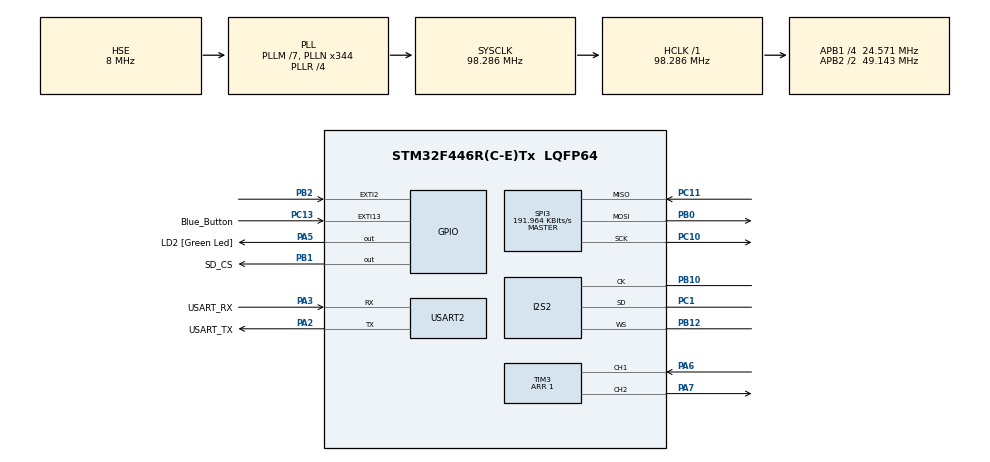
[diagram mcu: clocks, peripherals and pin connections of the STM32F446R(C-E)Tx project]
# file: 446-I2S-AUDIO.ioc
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Dma.Request0=SPI2_RX
Dma.SPI2_RX.0.Direction=DMA_PERIPH_TO_MEMORY
Dma.SPI2_RX.0.FIFOMode=DMA_FIFOMODE_DISABLE
Dma.SPI2_RX.0.Instance=DMA1_Stream3
Dma.SPI2_RX.0.MemDataAlignment=DMA_MDATAALIGN_HALFWORD
Dma.SPI2_RX.0.MemInc=DMA_MINC_ENABLE
Dma.SPI2_RX.0.Mode=DMA_CIRCULAR
Dma.SPI2_RX.0.PeriphDataAlignment=DMA_PDATAALIGN_HALFWORD
Dma.SPI2_RX.0.PeriphInc=DMA_PINC_DISABLE
Dma.SPI2_RX.0.Priority=DMA_PRIORITY_HIGH
I2S2.AudioFreq=I2S_AUDIOFREQ_48K
I2S2.DataFormat=I2S_DATAFORMAT_32B
I2S2.ErrorAudioFreq=-0.01 %
I2S2.FullDuplexMode=I2S_FULLDUPLEXMODE_DISABLE
I2S2.Instance=SPI$Index
I2S2.Mode=I2S_MODE_MASTER_RX
I2S2.RealAudioFreq=47.991 KHz
I2S2.Standard=I2S_STANDARD_MSB
I2S2.VirtualMode=I2S_MODE_MASTER
Mcu.Family=STM32F4
Mcu.Name=STM32F446R(C-E)Tx
Mcu.Package=LQFP64
NVIC.DMA1_Stream3_IRQn=true\:0\:0\:false\:false\:true\:false\:true\:true
NVIC.EXTI15_10_IRQn=true\:0\:0\:false\:false\:true\:true\:true\:true
NVIC.EXTI2_IRQn=true\:0\:0\:false\:false\:true\:true\:true\:true
NVIC.PriorityGroup=NVIC_PRIORITYGROUP_0
PA13.GPIO_Label=TMS
PA13.Mode=Serial_Wire
PA13.Signal=SYS_JTMS-SWDIO
PA14.GPIO_Label=TCK
PA14.Mode=Serial_Wire
PA14.Signal=SYS_JTCK-SWCLK
PA2.GPIO_Label=USART_TX
PA2.Mode=Asynchronous
PA2.Signal=USART2_TX
PA3.GPIO_Label=USART_RX
PA3.Mode=Asynchronous
PA3.Signal=USART2_RX
PA5.GPIO_Label=LD2 [Green Led]
PA5.Signal=GPIO_Output
PA6.Signal=S_TIM3_CH1
PA7.Signal=S_TIM3_CH2
PB0.Mode=Full_Duplex_Master
PB0.Signal=SPI3_MOSI
PB1.GPIO_Label=SD_CS
PB1.Signal=GPIO_Output
PB10.Mode=Half_Duplex_Master
PB10.Signal=I2S2_CK
PB12.Mode=Half_Duplex_Master
PB12.Signal=I2S2_WS
PB2.Signal=GPXTI2
PB3.GPIO_Label=SWO
PB3.Signal=SYS_JTDO-SWO
PC1.Mode=Half_Duplex_Master
PC1.Signal=I2S2_SD
PC10.Mode=Full_Duplex_Master
PC10.Signal=SPI3_SCK
PC11.Mode=Full_Duplex_Master
PC11.Signal=SPI3_MISO
PC13.GPIO_Label=Blue_Button
PC13.GPIO_ModeDefaultEXTI=GPIO_MODE_IT_FALLING
PC13.Signal=GPXTI13
PC14-OSC32_IN.Mode=LSE-External-Oscillator
PC14-OSC32_IN.Signal=RCC_OSC32_IN
PC15-OSC32_OUT.Mode=LSE-External-Oscillator
PC15-OSC32_OUT.Signal=RCC_OSC32_OUT
PH0-OSC_IN.Mode=HSE-External-Oscillator
PH0-OSC_IN.Signal=RCC_OSC_IN
PH1-OSC_OUT.Mode=HSE-External-Oscillator
PH1-OSC_OUT.Signal=RCC_OSC_OUT
ProjectManager.HeapSize=0x200
ProjectManager.StackSize=0x400
ProjectManager.TargetToolchain=STM32CubeIDE
RCC.48MHZClocksFreq_Value=84000000
RCC.AHBFreq_Value=98285714.2857143
RCC.APB1CLKDivider=RCC_HCLK_DIV4
RCC.APB1Freq_Value=24571428.571428575
RCC.APB1TimFreq_Value=49142857.14285715
RCC.APB2CLKDivider=RCC_HCLK_DIV2
RCC.APB2Freq_Value=49142857.14285715
RCC.APB2TimFreq_Value=98285714.2857143
RCC.CortexFreq_Value=98285714.2857143
RCC.FLatency-AdvancedSettings=FLASH_LATENCY_3
RCC.HCLKFreq_Value=98285714.2857143
RCC.HSE_VALUE=8000000
RCC.HSI_VALUE=16000000
RCC.I2S1CLockSelection=RCC_I2SAPB1CLKSOURCE_PLLR
RCC.PLLI2SM=7
RCC.PLLI2SN=344
RCC.PLLI2SR=4
RCC.PLLM=7
RCC.PLLN=344
RCC.PLLP=RCC_PLLP_DIV4
RCC.PLLR=4
RCC.PLLSourceVirtual=RCC_PLLSOURCE_HSE
RCC.SYSCLKFreq_VALUE=98285714.2857143
RCC.SYSCLKSource=RCC_SYSCLKSOURCE_PLLRCLK
RCC.USBFreq_Value=196571428.5714286
RCC.VCOOutputFreq_Value=393142857.1428572
SH.S_TIM3_CH1.0=TIM3_CH1,TriggerSource_TI1FP1
SH.S_TIM3_CH2.0=TIM3_CH2,PWM Generation2 CH2
SPI3.BaudRatePrescaler=SPI_BAUDRATEPRESCALER_128
SPI3.CalculateBaudRate=191.964 KBits/s
SPI3.Direction=SPI_DIRECTION_2LINES
SPI3.Mode=SPI_MODE_MASTER
SPI3.VirtualType=VM_MASTER
TIM3.Channel-PWM\ Generation2\ CH2=TIM_CHANNEL_2
TIM3.Period=1
USART2.VirtualMode=VM_ASYNC
VP_CRC_VS_CRC.Mode=CRC_Activate
VP_FATFS_VS_Generic.Mode=User_defined
VP_PDM2PCM_VS_PDM2PCM.Mode=PDM2PCM_Channel
VP_TIM3_VS_ControllerModeClock.Mode=Clock Mode
board=NUCLEO-F446RE

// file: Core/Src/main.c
/* USER CODE BEGIN Header */
/**
  ******************************************************************************
  * @file           : main.c
  * @brief          : Main program body
  ******************************************************************************
  * @attention
  *
  * Copyright (c) 2024 STMicroelectronics.
  * All rights reserved.
  *
  * This software is licensed under terms that can be found in the LICENSE file
  * in the root directory of this software component.
  * If no LICENSE file comes with this software, it is provided AS-IS.
  *
  ******************************************************************************
  */
/* USER CODE END Header */
#include "main.h"
#include "fatfs.h"
#include "pdm2pcm.h"

/* USER CODE BEGIN Includes */
#include "stdio.h"
#include <string.h>
#include <stdarg.h> //for va_list var arg functions
//#include <audio_sd.h>
/* USER CODE END Includes */

/* USER CODE BEGIN PD */
#define AUDIO_CHANNELS 2U
#define AUDIO_SAMPLING_FREQUENCY 48000U
#define N_MS_PER_INTERRUPT (1U)
#define CHANNEL_DEMUX_MASK  0x55U
FRESULT res;                                          /* FatFs function common result code */
FATFS SDFatFs;  /* File system object for SD card logical drive */
FIL MyFile;     /* File object */

volatile uint8_t button_flag = 0;

char newLine[] = "\r\n";
volatile uint8_t SD_Log_Enabled = 0;
char SDPath[4]; /* SD card logical drive path */
static volatile uint8_t BUTTONInterrupt, audio_in_recording_state = 0;
int index_n=0;

volatile int  index_buff=0;
static uint16_t I2S_InternalBuffer[768]; //TODO:CHECK
uint16_t PCM_Buffer[AUDIO_CHANNELS * AUDIO_SAMPLING_FREQUENCY / 1000];
uint16_t PDM_Buffer[AUDIO_CHANNELS * AUDIO_SAMPLING_FREQUENCY / 1000 * 64 / 8];

#define WRITE_EACH 16//ms
#define SIZE_BUFF (AUDIO_SAMPLING_FREQUENCY / 1000 * AUDIO_CHANNELS * (WRITE_EACH*2))

int16_t Audio_OUT_Buff[SIZE_BUFF];
uint8_t pHeader[44];

/* PDM filters params */
static PDM_Filter_Handler_t  PDM_FilterHandler[2];
static PDM_Filter_Config_t   PDM_FilterConfig[2];

static uint8_t Channel_Demux[128] = {
  0x00, 0x01, 0x00, 0x01, 0x02, 0x03, 0x02, 0x03,
  0x00, 0x01, 0x00, 0x01, 0x02, 0x03, 0x02, 0x03,
  0x04, 0x05, 0x04, 0x05, 0x06, 0x07, 0x06, 0x07,
  0x04, 0x05, 0x04, 0x05, 0x06, 0x07, 0x06, 0x07,
  0x00, 0x01, 0x00, 0x01, 0x02, 0x03, 0x02, 0x03,
  0x00, 0x01, 0x00, 0x01, 0x02, 0x03, 0x02, 0x03,
  0x04, 0x05, 0x04, 0x05, 0x06, 0x07, 0x06, 0x07,
  0x04, 0x05, 0x04, 0x05, 0x06, 0x07, 0x06, 0x07,
  0x08, 0x09, 0x08, 0x09, 0x0a, 0x0b, 0x0a, 0x0b,
  0x08, 0x09, 0x08, 0x09, 0x0a, 0x0b, 0x0a, 0x0b,
  0x0c, 0x0d, 0x0c, 0x0d, 0x0e, 0x0f, 0x0e, 0x0f,
  0x0c, 0x0d, 0x0c, 0x0d, 0x0e, 0x0f, 0x0e, 0x0f,
  0x08, 0x09, 0x08, 0x09, 0x0a, 0x0b, 0x0a, 0x0b,
  0x08, 0x09, 0x08, 0x09, 0x0a, 0x0b, 0x0a, 0x0b,
  0x0c, 0x0d, 0x0c, 0x0d, 0x0e, 0x0f, 0x0e, 0x0f,
  0x0c, 0x0d, 0x0c, 0x0d, 0x0e, 0x0f, 0x0e, 0x0f
};

/* USER CODE END PD */

CRC_HandleTypeDef hcrc;

I2S_HandleTypeDef hi2s2;
DMA_HandleTypeDef hdma_spi2_rx;

SPI_HandleTypeDef hspi3;

TIM_HandleTypeDef htim3;

UART_HandleTypeDef huart2;

void SystemClock_Config(void);
static void MX_GPIO_Init(void);
static void MX_DMA_Init(void);
static void MX_USART2_UART_Init(void);
static void MX_I2S2_Init(void);
static void MX_SPI3_Init(void);
static void MX_TIM3_Init(void);
static void MX_CRC_Init(void);
/* USER CODE BEGIN PFP */
void sd_card_init_new(void);
void PDMToPCMInit(void);
void myprintf(const char *fmt, ...);
void set_wav_header(void);
/* USER CODE END PFP */

/* USER CODE BEGIN 0 */
void myprintf(const char *fmt, ...) {
  static char buffer[256];
  va_list args;
  va_start(args, fmt);
  vsnprintf(buffer, sizeof(buffer), fmt, args);
  va_end(args);

  int len = strlen(buffer);
  HAL_UART_Transmit(&huart2, (uint8_t*)buffer, len, -1);
}

/**
  * @brief  Initialize the wave header file
  * @param  pHeader: Header Buffer to be filled
  * @param  pWaveFormatStruct: Pointer to the wave structure to be filled.
  * @retval 0 if passed, !0 if failed.
  */
static uint32_t WavProcess_HeaderInit()
{
  uint16_t   BitPerSample=16;
  uint16_t   NbrChannels=AUDIO_CHANNELS;
  uint32_t   ByteRate=AUDIO_SAMPLING_FREQUENCY*(BitPerSample/8);

  uint32_t   SampleRate=AUDIO_SAMPLING_FREQUENCY;
  uint16_t   BlockAlign= NbrChannels * (BitPerSample/8);

  /* Write chunkID, must be 'RIFF'  ------------------------------------------*/
  pHeader[0] = 'R';
  pHeader[1] = 'I';
  pHeader[2] = 'F';
  pHeader[3] = 'F';

  /* Write the file length ----------------------------------------------------*/
  /* The sampling time: this value will be be written back at the end of the
     recording opearation.  Example: 661500 Btyes = 0x000A17FC, byte[7]=0x00, byte[4]=0xFC */
  pHeader[4] = 0x00;
  pHeader[5] = 0x4C;
  pHeader[6] = 0x1D;
  pHeader[7] = 0x00;

  /* Write the file format, must be 'WAVE' -----------------------------------*/
  pHeader[8]  = 'W';
  pHeader[9]  = 'A';
  pHeader[10] = 'V';
  pHeader[11] = 'E';

  /* Write the format chunk, must be'fmt ' -----------------------------------*/
  pHeader[12]  = 'f';
  pHeader[13]  = 'm';
  pHeader[14]  = 't';
  pHeader[15]  = ' ';

  /* Write the length of the 'fmt' data, must be 0x10 ------------------------*/
  pHeader[16]  = 0x10;
  pHeader[17]  = 0x00;
  pHeader[18]  = 0x00;
  pHeader[19]  = 0x00;

  /* Write the audio format, must be 0x01 (PCM) ------------------------------*/
  pHeader[20]  = 0x01;
  pHeader[21]  = 0x00;

  /* Write the number of channels, ie. 0x01 (Mono) ---------------------------*/
  pHeader[22]  = NbrChannels;
  pHeader[23]  = 0x00;

  /* Write the Sample Rate in Hz ---------------------------------------------*/
  /* Write Little Endian ie. 8000 = 0x00001F40 => byte[24]=0x40, byte[27]=0x00*/
  pHeader[24]  = (uint8_t)((SampleRate & 0xFF));
  pHeader[25]  = (uint8_t)((SampleRate >> 8) & 0xFF);
  pHeader[26]  = (uint8_t)((SampleRate >> 16) & 0xFF);
  pHeader[27]  = (uint8_t)((SampleRate >> 24) & 0xFF);

  /* Write the Byte Rate -----------------------------------------------------*/
  pHeader[28]  = (uint8_t)(( ByteRate & 0xFF));
  pHeader[29]  = (uint8_t)(( ByteRate >> 8) & 0xFF);
  pHeader[30]  = (uint8_t)(( ByteRate >> 16) & 0xFF);
  pHeader[31]  = (uint8_t)(( ByteRate >> 24) & 0xFF);

  /* Write the block alignment -----------------------------------------------*/
  pHeader[32]  = BlockAlign;
  pHeader[33]  = 0x00;

  /* Write the number of bits per sample -------------------------------------*/
  pHeader[34]  = BitPerSample;
  pHeader[35]  = 0x00;

  /* Write the Data chunk, must be 'data' ------------------------------------*/
  pHeader[36]  = 'd';
  pHeader[37]  = 'a';
  pHeader[38]  = 't';
  pHeader[39]  = 'a';

  /* Write the number of sample data -----------------------------------------*/
  /* This variable will be written back at the end of the recording operation */
  pHeader[40]  = 0x00;
  pHeader[41]  = 0x4C;
  pHeader[42]  = 0x1D;
  pHeader[43]  = 0x00;

  /* Return 0 if all operations are OK */
  return 0;
}

/**
  * @brief  Initialize the wave header file
  * @param  pHeader: Header Buffer to be filled
  * @param  pWaveFormatStruct: Pointer to the wave structure to be filled.
  * @retval 0 if passed, !0 if failed.
  */
static uint32_t WavProcess_HeaderUpdate(uint32_t len)
{
  /* Write the file length ----------------------------------------------------*/
  /* The sampling time: this value will be be written back at the end of the
     recording opearation.  Example: 661500 Btyes = 0x000A17FC, byte[7]=0x00, byte[4]=0xFC */
  pHeader[4] = (uint8_t)(len);
  pHeader[5] = (uint8_t)(len >> 8);
  pHeader[6] = (uint8_t)(len >> 16);
  pHeader[7] = (uint8_t)(len >> 24);
  /* Write the number of sample data -----------------------------------------*/
  /* This variable will be written back at the end of the recording operation */
  len -=44;
  pHeader[40] = (uint8_t)(len);
  pHeader[41] = (uint8_t)(len >> 8);
  pHeader[42] = (uint8_t)(len >> 16);
  pHeader[43] = (uint8_t)(len >> 24);
  /* Return 0 if all operations are OK */
  return 0;
}

/**
  * @brief  Start SD-Card demo
  * @param  None
  * @retval None
  */
uint8_t DATALOG_SD_Log_Enable(void)
{
  static uint16_t sdcard_file_counter = 0;

  uint32_t byteswritten; /* written byte count */
//  char file_name[30] = {0};
	static char file_name[] = "w_000.wav";
	static uint8_t file_counter = 1; //TODO: check if 10
	int file_number_digits = file_counter;
//	uint32_t byte_rate = frequency * 2 * 2;
//	wav_file_header[24] = (uint8_t)frequency;
//	wav_file_header[25] = (uint8_t)(frequency >> 8);
//	wav_file_header[26] = (uint8_t)(frequency >> 16);
//	wav_file_header[27] = (uint8_t)(frequency >> 24);
//	wav_file_header[28] = (uint8_t)byte_rate;
//	wav_file_header[29] = (uint8_t)(byte_rate >> 8);
//	wav_file_header[30] = (uint8_t)(byte_rate >> 16);
//	wav_file_header[31] = (uint8_t)(byte_rate >> 24);

	// defining a wave file name
	file_name[4] = file_number_digits%10 + 48; //48 is digit 0
	file_number_digits /= 10;
	file_name[3] = file_number_digits%10 + 48;
	file_number_digits /= 10;
	file_name[2] = file_number_digits%10 + 48;
	printf("file name %s \n", file_name);
	myprintf("file name %s \n", file_name);
	file_counter++;

  WavProcess_HeaderInit();

//  sprintf(file_name, "%s%.3d%s", "BC_Log_N", sdcard_file_counter, ".wav");
//  sdcard_file_counter++;

//  if(f_open(&MyFile, (char const*)file_name, FA_CREATE_ALWAYS | FA_WRITE) != FR_OK)
//  {
//	myprintf("Testing file create failed! \r\n");
//    return 0;
//  }
	// creating a file
    FRESULT fres = f_open(&MyFile ,file_name, FA_WRITE|FA_CREATE_ALWAYS);
	if(fres != 0)
	{
		myprintf("error in creating a file: %d \n", fres);
	}

  if(f_write(&MyFile, pHeader, sizeof(pHeader), (void *)&byteswritten) != FR_OK)
  {
	myprintf("Testing file header write failed! \r\n");
    return 0;
  }
  return 1;
}

/**
  * @brief  Disable SDCard Log
  * @param  None
  * @retval None
  */
void DATALOG_SD_Log_Disable(void)
{
  uint32_t len;
  uint32_t byteswritten;                     /* File write/read counts */

  len = f_size(&MyFile);
  WavProcess_HeaderUpdate(len);

    /* Update the data length in the header of the recorded Wave */
  f_lseek(&MyFile, 0);

  /* Parse the wav file header and extract required information */

  f_write(&MyFile, pHeader, 44, (void*)&byteswritten);

  /* Close file and unmount MyFilesystem */

  f_close(&MyFile);
}

static HAL_StatusTypeDef AUDIO_IN_Timer_Start(void) {
	HAL_StatusTypeDef ret = HAL_OK;
	if (HAL_TIM_IC_Start(&htim3, TIM_CHANNEL_1) != HAL_OK) {
		ret = HAL_ERROR;
	}
	if (HAL_TIM_OC_Start(&htim3, TIM_CHANNEL_2) != HAL_OK) {
		ret = HAL_ERROR;
	}
//	if (HAL_TIM_PWM_Start(&htim3, TIM_CHANNEL_2) != HAL_OK) {;
//		ret = HAL_ERROR;
//	}
	return ret;
}

void init_recording_state(uint8_t* pBuf, uint32_t NbrOfBytes) {
	if(AUDIO_IN_Timer_Start() != HAL_OK) {
		myprintf("Error in AUDIO IN TIMER START!!!! \r\n");
	}
	if(HAL_I2S_Receive_DMA(&hi2s2, I2S_InternalBuffer, (uint16_t)768/2U) != HAL_OK) {
		int status_for_hal = HAL_I2S_Receive_DMA(&hi2s2, I2S_InternalBuffer, (uint16_t)768/2U);
		myprintf("I2S FAILEDDD, %i\r\n", status_for_hal);
	}
	audio_in_recording_state = 0;
}

/* USER CODE END 0 */

int main(void)
{

  /* MCU Configuration--------------------------------------------------------*/

  /* Reset of all peripherals, Initializes the Flash interface and the Systick. */
  HAL_Init();

  /* Configure the system clock */
  SystemClock_Config();

  /* Initialize all configured peripherals */
  MX_GPIO_Init();
  MX_DMA_Init();
  MX_USART2_UART_Init();
  MX_I2S2_Init();
  MX_SPI3_Init();
  MX_TIM3_Init();
  MX_CRC_Init();
  MX_FATFS_Init();
  MX_PDM2PCM_Init();
  /* USER CODE BEGIN 2 */
  HAL_NVIC_SetPriority((IRQn_Type)EXTI2_IRQn, 0xFF, 0);
   //HAL_NVIC_EnableIRQ((IRGB1_Bluebutton_EXTI_IRQn);
	HAL_NVIC_EnableIRQ((IRQn_Type)EXTI2_IRQn);
	HAL_Delay(1000);
	/*BELOW ADDED FOR SD_CARD*/
	sd_card_init_new();
	HAL_Delay(1000);
	//sd_demo();
	PDMToPCMInit();
	init_recording_state((uint8_t *) PDM_Buffer, 0);

  /* USER CODE END 2 */

  /* Infinite loop */
  /* USER CODE BEGIN WHILE */
  while (1)
  {
	  if (button_flag) {
	 		  button_flag = 0;

	 		  if (audio_in_recording_state) {
	 			  HAL_GPIO_TogglePin(LD2_GPIO_Port, LD2_Pin);
	 			  myprintf("STOPPED RECORDING, DUMPING!!!");
	 			  audio_in_recording_state = 0;
	 			  DATALOG_SD_Log_Disable();
	 		  }
	 		  else {
	 			  HAL_GPIO_TogglePin(LD2_GPIO_Port, LD2_Pin);
	 			  myprintf("Started in Recording!!!");
	 			  DATALOG_SD_Log_Enable();
	 			  audio_in_recording_state = 1;
	 			  }
	 		  }

    /* USER CODE END WHILE */

  }
}

void SystemClock_Config(void)
{
  RCC_OscInitTypeDef RCC_OscInitStruct = {0};
  RCC_ClkInitTypeDef RCC_ClkInitStruct = {0};

  /** Configure the main internal regulator output voltage
  */
  __HAL_RCC_PWR_CLK_ENABLE();
  __HAL_PWR_VOLTAGESCALING_CONFIG(PWR_REGULATOR_VOLTAGE_SCALE3);

  /** Initializes the RCC Oscillators according to the specified parameters
  * in the RCC_OscInitTypeDef structure.
  */
  RCC_OscInitStruct.OscillatorType = RCC_OSCILLATORTYPE_HSE;
  RCC_OscInitStruct.HSEState = RCC_HSE_ON;
  RCC_OscInitStruct.PLL.PLLState = RCC_PLL_ON;
  RCC_OscInitStruct.PLL.PLLSource = RCC_PLLSOURCE_HSE;
  RCC_OscInitStruct.PLL.PLLM = 7;
  RCC_OscInitStruct.PLL.PLLN = 344;
  RCC_OscInitStruct.PLL.PLLP = RCC_PLLP_DIV4;
  RCC_OscInitStruct.PLL.PLLQ = 2;
  RCC_OscInitStruct.PLL.PLLR = 4;
  if (HAL_RCC_OscConfig(&RCC_OscInitStruct) != HAL_OK)
  {
    Error_Handler();
  }

  /** Initializes the CPU, AHB and APB buses clocks
  */
  RCC_ClkInitStruct.ClockType = RCC_CLOCKTYPE_HCLK|RCC_CLOCKTYPE_SYSCLK
                              |RCC_CLOCKTYPE_PCLK1|RCC_CLOCKTYPE_PCLK2;
  RCC_ClkInitStruct.SYSCLKSource = RCC_SYSCLKSOURCE_PLLRCLK;
  RCC_ClkInitStruct.AHBCLKDivider = RCC_SYSCLK_DIV1;
  RCC_ClkInitStruct.APB1CLKDivider = RCC_HCLK_DIV4;
  RCC_ClkInitStruct.APB2CLKDivider = RCC_HCLK_DIV2;

  if (HAL_RCC_ClockConfig(&RCC_ClkInitStruct, FLASH_LATENCY_3) != HAL_OK)
  {
    Error_Handler();
  }
}

static void MX_CRC_Init(void)
{

  hcrc.Instance = CRC;
  if (HAL_CRC_Init(&hcrc) != HAL_OK)
  {
    Error_Handler();
  }
  __HAL_CRC_DR_RESET(&hcrc);

}

static void MX_I2S2_Init(void)
{

  hi2s2.Instance = SPI2;
  hi2s2.Init.Mode = I2S_MODE_MASTER_RX;
  hi2s2.Init.Standard = I2S_STANDARD_MSB;
  hi2s2.Init.DataFormat = I2S_DATAFORMAT_32B;
  hi2s2.Init.MCLKOutput = I2S_MCLKOUTPUT_DISABLE;
  hi2s2.Init.AudioFreq = I2S_AUDIOFREQ_48K;
  hi2s2.Init.CPOL = I2S_CPOL_LOW;
  hi2s2.Init.ClockSource = I2S_CLOCK_PLLR;
  hi2s2.Init.FullDuplexMode = I2S_FULLDUPLEXMODE_DISABLE;
  if (HAL_I2S_Init(&hi2s2) != HAL_OK)
  {
    Error_Handler();
  }

}

static void MX_SPI3_Init(void)
{

  /* SPI3 parameter configuration*/
  hspi3.Instance = SPI3;
  hspi3.Init.Mode = SPI_MODE_MASTER;
  hspi3.Init.Direction = SPI_DIRECTION_2LINES;
  hspi3.Init.DataSize = SPI_DATASIZE_8BIT;
  hspi3.Init.CLKPolarity = SPI_POLARITY_LOW;
  hspi3.Init.CLKPhase = SPI_PHASE_1EDGE;
  hspi3.Init.NSS = SPI_NSS_SOFT;
  hspi3.Init.BaudRatePrescaler = SPI_BAUDRATEPRESCALER_128;
  hspi3.Init.FirstBit = SPI_FIRSTBIT_MSB;
  hspi3.Init.TIMode = SPI_TIMODE_DISABLE;
  hspi3.Init.CRCCalculation = SPI_CRCCALCULATION_DISABLE;
  hspi3.Init.CRCPolynomial = 10;
  if (HAL_SPI_Init(&hspi3) != HAL_OK)
  {
    Error_Handler();
  }

}

static void MX_TIM3_Init(void)
{

  TIM_SlaveConfigTypeDef sSlaveConfig = {0};
  TIM_MasterConfigTypeDef sMasterConfig = {0};
  TIM_OC_InitTypeDef sConfigOC = {0};

  htim3.Instance = TIM3;
  htim3.Init.Prescaler = 0;
  htim3.Init.CounterMode = TIM_COUNTERMODE_UP;
  htim3.Init.Period = 1;
  htim3.Init.ClockDivision = TIM_CLOCKDIVISION_DIV1;
  htim3.Init.AutoReloadPreload = TIM_AUTORELOAD_PRELOAD_DISABLE;
  if (HAL_TIM_Base_Init(&htim3) != HAL_OK)
  {
    Error_Handler();
  }
  if (HAL_TIM_PWM_Init(&htim3) != HAL_OK)
  {
    Error_Handler();
  }
  sSlaveConfig.SlaveMode = TIM_SLAVEMODE_EXTERNAL1;
  sSlaveConfig.InputTrigger = TIM_TS_TI1FP1;
  sSlaveConfig.TriggerPolarity = TIM_TRIGGERPOLARITY_RISING;
  sSlaveConfig.TriggerFilter = 0;
  if (HAL_TIM_SlaveConfigSynchro(&htim3, &sSlaveConfig) != HAL_OK)
  {
    Error_Handler();
  }
  sMasterConfig.MasterOutputTrigger = TIM_TRGO_RESET;
  sMasterConfig.MasterSlaveMode = TIM_MASTERSLAVEMODE_DISABLE;
  if (HAL_TIMEx_MasterConfigSynchronization(&htim3, &sMasterConfig) != HAL_OK)
  {
    Error_Handler();
  }
  sConfigOC.OCMode = TIM_OCMODE_PWM1;
  sConfigOC.Pulse = 0;
  sConfigOC.OCPolarity = TIM_OCPOLARITY_HIGH;
  sConfigOC.OCFastMode = TIM_OCFAST_DISABLE;
  if (HAL_TIM_PWM_ConfigChannel(&htim3, &sConfigOC, TIM_CHANNEL_2) != HAL_OK)
  {
    Error_Handler();
  }
  HAL_TIM_MspPostInit(&htim3);

}

static void MX_USART2_UART_Init(void)
{

  huart2.Instance = USART2;
  huart2.Init.BaudRate = 115200;
  huart2.Init.WordLength = UART_WORDLENGTH_8B;
  huart2.Init.StopBits = UART_STOPBITS_1;
  huart2.Init.Parity = UART_PARITY_NONE;
  huart2.Init.Mode = UART_MODE_TX_RX;
  huart2.Init.HwFlowCtl = UART_HWCONTROL_NONE;
  huart2.Init.OverSampling = UART_OVERSAMPLING_16;
  if (HAL_UART_Init(&huart2) != HAL_OK)
  {
    Error_Handler();
  }

}

static void MX_DMA_Init(void)
{

  /* DMA controller clock enable */
  __HAL_RCC_DMA1_CLK_ENABLE();

  /* DMA interrupt init */
  /* DMA1_Stream3_IRQn interrupt configuration */
  HAL_NVIC_SetPriority(DMA1_Stream3_IRQn, 0, 0);
  HAL_NVIC_EnableIRQ(DMA1_Stream3_IRQn);

}

static void MX_GPIO_Init(void)
{
  GPIO_InitTypeDef GPIO_InitStruct = {0};

  /* GPIO Ports Clock Enable */
  __HAL_RCC_GPIOC_CLK_ENABLE();
  __HAL_RCC_GPIOH_CLK_ENABLE();
  __HAL_RCC_GPIOA_CLK_ENABLE();
  __HAL_RCC_GPIOB_CLK_ENABLE();

  /*Configure GPIO pin Output Level */
  HAL_GPIO_WritePin(LD2_GPIO_Port, LD2_Pin, GPIO_PIN_RESET);

  /*Configure GPIO pin Output Level */
  HAL_GPIO_WritePin(SD_CS_GPIO_Port, SD_CS_Pin, GPIO_PIN_RESET);

  /*Configure GPIO pin : Blue_Button_Pin */
  GPIO_InitStruct.Pin = Blue_Button_Pin;
  GPIO_InitStruct.Mode = GPIO_MODE_IT_FALLING;
  GPIO_InitStruct.Pull = GPIO_NOPULL;
  HAL_GPIO_Init(Blue_Button_GPIO_Port, &GPIO_InitStruct);

  /*Configure GPIO pin : LD2_Pin */
  GPIO_InitStruct.Pin = LD2_Pin;
  GPIO_InitStruct.Mode = GPIO_MODE_OUTPUT_PP;
  GPIO_InitStruct.Pull = GPIO_NOPULL;
  GPIO_InitStruct.Speed = GPIO_SPEED_FREQ_LOW;
  HAL_GPIO_Init(LD2_GPIO_Port, &GPIO_InitStruct);

  /*Configure GPIO pin : SD_CS_Pin */
  GPIO_InitStruct.Pin = SD_CS_Pin;
  GPIO_InitStruct.Mode = GPIO_MODE_OUTPUT_PP;
  GPIO_InitStruct.Pull = GPIO_NOPULL;
  GPIO_InitStruct.Speed = GPIO_SPEED_FREQ_LOW;
  HAL_GPIO_Init(SD_CS_GPIO_Port, &GPIO_InitStruct);

  /*Configure GPIO pin : PB2 */
  GPIO_InitStruct.Pin = GPIO_PIN_2;
  GPIO_InitStruct.Mode = GPIO_MODE_IT_RISING;
  GPIO_InitStruct.Pull = GPIO_NOPULL;
  HAL_GPIO_Init(GPIOB, &GPIO_InitStruct);

  /* EXTI interrupt init*/
  HAL_NVIC_SetPriority(EXTI2_IRQn, 0, 0);
  HAL_NVIC_EnableIRQ(EXTI2_IRQn);

  HAL_NVIC_SetPriority(EXTI15_10_IRQn, 0, 0);
  HAL_NVIC_EnableIRQ(EXTI15_10_IRQn);

}

/* USER CODE BEGIN 4 */
void sd_card_init_new(void)
{
	res = f_mount(&SDFatFs, "", 1);
	if(res != FR_OK)
	{
		myprintf("error in mounting an sd card: %d \n", res);
		while (res != FR_OK) {
			res = f_mount(&SDFatFs, "", 1);
		}
	}
	else
	{
		myprintf("succeded in mounting an sd card \n");
	}
}

/**
* @brief Throws Highest priority interrupt
* @param Noned
* @retval None
*/
void SW_Task1_Start(void)
{
	//myprintf("In SW_Task1_star \r\n");
	HAL_NVIC_SetPendingIRQ(EXTI2_IRQn);
}

/**
* @brief Highest priority interrupt handler routine
* @param None
* @retval None
*/
void SW_Task1_Callback(void)
{
  FRESULT s;
  uint32_t byteswritten;                     /* File write/read counts */

  /* Check Push Button Event  */
  if (audio_in_recording_state)
  {
    s=f_write(&MyFile, &(((uint8_t *)Audio_OUT_Buff)[index_buff]), SIZE_BUFF, (void *)&byteswritten);
    if(s != FR_OK){
    	myprintf("Error in TASK1 \r\n");
    }
    myprintf("interrupt storing \r\n");
    myprintf("%i", Audio_OUT_Buff[0]);
  }
}

void PDMToPCMInit(void) {

	uint32_t index;
	for(index = 0; index < AUDIO_CHANNELS; index++)
		{
		  volatile uint32_t error = 0;
		  /* Init PDM filters */
		  PDM_FilterHandler[index].bit_order  = PDM_FILTER_BIT_ORDER_LSB;
		  PDM_FilterHandler[index].endianness = PDM_FILTER_ENDIANNESS_LE;
		  PDM_FilterHandler[index].high_pass_tap = 2122358088;
		  PDM_FilterHandler[index].out_ptr_channels = (uint16_t)AUDIO_CHANNELS;
		  PDM_FilterHandler[index].in_ptr_channels  = (uint16_t)AUDIO_CHANNELS;

	      /* PDM lib config phase */
	      PDM_FilterConfig[index].output_samples_number = (uint16_t) ((AUDIO_SAMPLING_FREQUENCY/1000U) * N_MS_PER_INTERRUPT);
	      PDM_FilterConfig[index].mic_gain = 24;
	      PDM_FilterConfig[index].decimation_factor = PDM_FILTER_DEC_FACTOR_64;

	      error = PDM_Filter_Init((PDM_Filter_Handler_t *)(&PDM_FilterHandler[index]));
	      if (error) {
	    	  myprintf("Error in initializing PDM");
	      }
	      error = PDM_Filter_setConfig((PDM_Filter_Handler_t *)&PDM_FilterHandler[index], &PDM_FilterConfig[index]);
	      if (error) {
	    	  myprintf("Error in setPDMConfig, %d", error);
	      }
		}
}

int32_t BSP_AUDIO_IN_PDMToPCM(uint16_t *PDMBuf, uint16_t *PCMBuf) {
	int32_t ret = 0;
	uint32_t index;
	for(index = 0; index < AUDIO_CHANNELS; index++) {
		//(void)PDM_Filter(&((uint8_t)(PDMBuf))[index], (uint16_t)&(PCMBuf[index]), &PDM_FilterHandler[index]);
		(void)PDM_Filter(&((uint8_t*)(PDMBuf))[index], (uint16_t*)&(PCMBuf[index]), &PDM_FilterHandler[index]);
	}
	return ret;
}

void AudioProcess(void)
{
  /*for L4 PDM to PCM conversion is performed in hardware by DFSDM peripheral*/
  uint16_t index = 0;
  static uint16_t OUT_Buff_lvl = 0;
  uint32_t msTick, msTickPrev = 0;

  BSP_AUDIO_IN_PDMToPCM((uint16_t * )PDM_Buffer, (uint16_t *)&PCM_Buffer[0]);
  //myprintf("%x \r\n", PDM_Buffer[0]);

  //for(int i = 0; i < 30; i++){
  //  myprintf("\r\n******** PCM Data: %x ********", PCM_Buffer[i]);
  //}

  //for(int i = 0; i < 32; i++){
  //  myprintf("\r\n-------- PDM Data: %x --------", PDM_Buffer[i]);
  //}

  for (index = 0; index < AUDIO_SAMPLING_FREQUENCY/1000 ; index++)
  {

    Audio_OUT_Buff[OUT_Buff_lvl + 0] = PCM_Buffer[index * AUDIO_CHANNELS + 0];// + PCM_Buffer[index * AUDIO_CHANNELS + 3];
    Audio_OUT_Buff[OUT_Buff_lvl + 1] = PCM_Buffer[index * AUDIO_CHANNELS + 1];//+ PCM_Buffer[index * AUDIO_CHANNELS + 2];

//    Audio_OUT_Buff[OUT_Buff_lvl + 2] = PCM_Buffer[index * AUDIO_CHANNELS + 2];// + PCM_Buffer[index * AUDIO_CHANNELS + 3];
//    Audio_OUT_Buff[OUT_Buff_lvl + 3] = PCM_Buffer[index * AUDIO_CHANNELS + 3];//+ PCM_Buffer[index * AUDIO_CHANNELS + 2];

    OUT_Buff_lvl = (OUT_Buff_lvl + 2)%SIZE_BUFF;
  }

  if (audio_in_recording_state)
  {
    //led toggle
//    msTick = HAL_GetTick();
//    if(msTick % 20 == 0 && msTickPrev != msTick)
//    {
//      msTickPrev = msTick;
//
//      BSP_LED_Toggle(LED4);
//    }

    //for (int i = 0; i < 30; i++) {
    //  myprintf("%x \r\n", Audio_OUT_Buff[i]);
    //}
    //first half
    if(OUT_Buff_lvl == SIZE_BUFF/2)
    {
      index_buff=0;
      SW_Task1_Start();

    }
    //second half
    else if (OUT_Buff_lvl == 0)
    {
      index_buff= SIZE_BUFF;
      SW_Task1_Start();
    }
  }
}

void HAL_I2S_RxCpltCallback(I2S_HandleTypeDef *hi2s) {
	UNUSED(hi2s);
	uint32_t index;

  //for(int i = 0; i < 32; i++){
  //  myprintf("\r\n I2S Internal Buffer Content: %x full", I2S_InternalBuffer[i]);
  //}

	uint16_t * DataTempI2S = &(I2S_InternalBuffer[768/2U]);

//  for(int i = 0; i < 32; i++){
//    myprintf("\r\n I2S Internal Buffer Content: %x full", DataTempI2S[i]);
//  }

	  uint8_t a,b;
	  for(index=0; index<(768/2U); index++)
	  {
		  a = ((uint8_t *)(DataTempI2S))[(index*2U)];
		  b = ((uint8_t *)(DataTempI2S))[(index*2U)+1U];

      //myprintf("\r\nA: %x", a);
      //myprintf("\r\nB: %x", b);

		 ((uint8_t *)(PDM_Buffer))[(index*2U)] = Channel_Demux[a & CHANNEL_DEMUX_MASK] | (Channel_Demux[b & CHANNEL_DEMUX_MASK] << 4);;
		 ((uint8_t *)(PDM_Buffer))[(index*2U)+1U] = Channel_Demux[(a>>1) & CHANNEL_DEMUX_MASK] | (Channel_Demux[(b>>1) & CHANNEL_DEMUX_MASK] << 4);
	  }
	  // for(int i = 0; i < sizeof(PDM_Buffer)/sizeof(PDM_Buffer[0]); i++){
	  //     myprintf("\r\n PDM Content full: %x full", PDM_Buffer[i]);
	  //  }
	  AudioProcess();
}

void HAL_I2S_RxHalfCpltCallback(I2S_HandleTypeDef *hi2s) {
	UNUSED(hi2s);
	uint32_t index;

//	  for(int i = 0; i < 32; i++){
//	    myprintf("\r\n I2S Internal Buffer Content: %x half", I2S_InternalBuffer[i]);
//	  }

	uint16_t * DataTempI2S = I2S_InternalBuffer;

	  uint8_t a,b;
	  for(index=0; index<384; index++)
	  {
		a = ((uint8_t *)(DataTempI2S))[(index*2U)];
		b = ((uint8_t *)(DataTempI2S))[(index*2U)+1U];
		((uint8_t *)(PDM_Buffer))[(index*2U)] = Channel_Demux[a & CHANNEL_DEMUX_MASK] |
		  (Channel_Demux[b & CHANNEL_DEMUX_MASK] << 4);;
		  ((uint8_t *)(PDM_Buffer))[(index*2U)+1U] = Channel_Demux[(a>>1) & CHANNEL_DEMUX_MASK] |
			(Channel_Demux[(b>>1) & CHANNEL_DEMUX_MASK] << 4);
	  }
	  // for(int i = 0; i < 32; i++){
	  // 	      myprintf("\r\n PDM Content full: %x half", PDM_Buffer[i]);
	  // 	   }
	  AudioProcess();
}

int _write(int file, char *ptr, int len) {

	for (int DataIdx = 0; DataIdx < len; DataIdx++) {
		ITM_SendChar(*ptr++);
	}
	return len;
}

void HAL_GPIO_EXTI_Callback(uint16_t GPIO_Pin) {
	if(GPIO_Pin == Blue_Button_Pin) {
		button_flag = 1;
	}
}
/* USER CODE END 4 */

void Error_Handler(void)
{
  __disable_irq();
  while (1)
  {
  }
}
